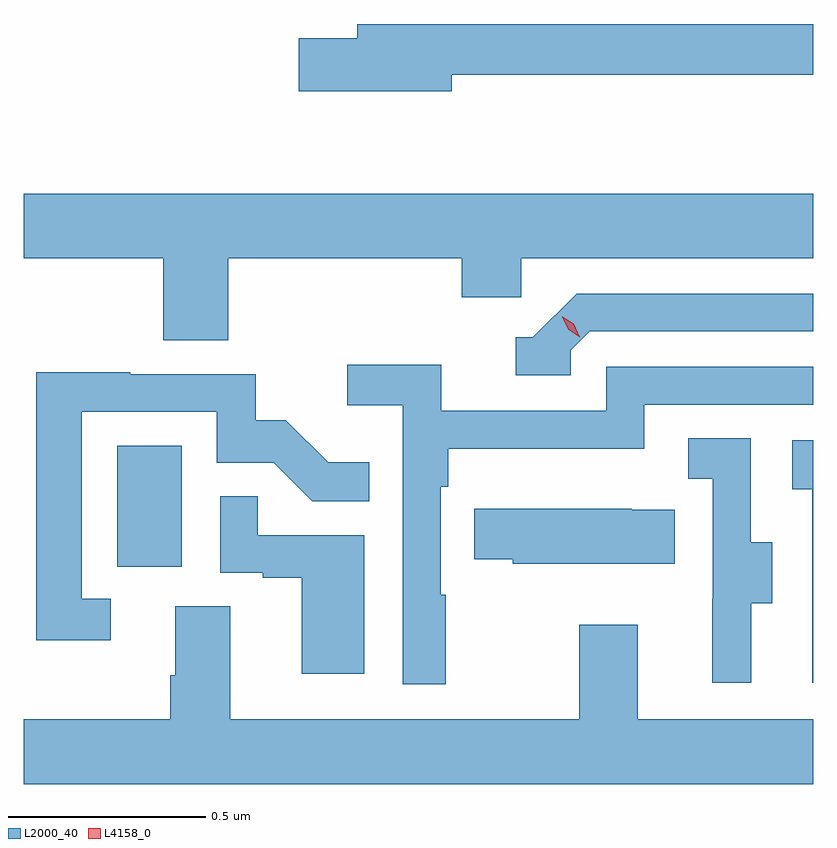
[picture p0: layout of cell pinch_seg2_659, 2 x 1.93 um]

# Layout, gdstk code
import gdstk
lib = gdstk.Library(unit=1e-6, precision=1e-09)
def R(c, l, rs):  # rectangles x0, y0, x1, y1
    for r in rs: c.add(gdstk.rectangle(r[:2], r[2:], *l))
def P(c, l, *ps):  # polygons
    for p in ps: c.add(gdstk.Polygon(p, *l))
L2000_40 = (2000, 40)
L4158_0 = (4158, 0)

pinch_seg2_659 = lib.new_cell('pinch_seg2_659')
R(pinch_seg2_659, L2000_40, [(1079.294,601.566,1079.458,601.873)])
P(pinch_seg2_659, L2000_40, [(1080.142,602.814),(1081.058,602.814),(1081.058,602.942),(1079.903,602.942),(1079.903,602.906),(1079.754,602.906),(1079.754,602.771),(1080.142,602.771)],
  [(1079.576,602.348),(1080.167,602.348),(1080.167,602.25),(1080.318,602.25),(1080.318,602.348),(1081.058,602.348),(1081.058,602.512),(1079.058,602.512),(1079.058,602.348),(1079.411,602.348),(1079.411,602.14),(1079.576,602.14)],
  [(1080.444,602.115),(1080.492,602.163),(1081.058,602.163),(1081.058,602.259),(1080.459,602.259),(1080.348,602.148),(1080.305,602.148),(1080.305,602.052),(1080.444,602.052)],
  [(1080.127,601.496),(1080.114,601.496),(1080.114,601.769),(1080.134,601.769),(1080.134,601.865),(1080.63,601.865),(1080.63,601.977),(1081.058,601.977),(1081.058,602.073),(1080.534,602.073),(1080.534,601.962),(1080.116,601.962),(1080.116,602.078),(1079.877,602.078),(1079.877,601.976),(1080.018,601.976),(1080.018,601.269),(1080.127,601.269)],
  [(1079.278,601.485),(1079.205,601.485),(1079.205,601.959),(1079.547,601.959),(1079.547,601.83),(1079.691,601.83),(1079.789,601.732),(1079.933,601.732),(1079.933,601.831),(1079.829,601.831),(1079.722,601.938),(1079.646,601.938),(1079.646,602.055),(1079.327,602.055),(1079.327,602.06),(1079.089,602.06),(1079.089,601.38),(1079.278,601.38)],
  [(1080.901,601.474),(1080.955,601.474),(1080.955,601.629),(1080.9,601.629),(1080.9,601.892),(1080.741,601.892),(1080.741,601.789),(1080.804,601.789),(1080.804,601.485),(1080.803,601.485),(1080.803,601.272),(1080.901,601.272)],
  [(1081.058,601.887),(1081.005,601.887),(1081.005,601.763),(1081.056,601.763),(1081.056,601.272),(1081.058,601.272)],
  [(1079.92,601.647),(1079.651,601.647),(1079.651,601.745),(1079.556,601.745),(1079.556,601.551),(1079.663,601.551),(1079.663,601.539),(1079.762,601.539),(1079.762,601.296),(1079.92,601.296)],
  [(1080.707,601.711),(1080.599,601.711),(1080.599,601.714),(1080.199,601.714),(1080.199,601.585),(1080.297,601.585),(1080.297,601.574),(1080.707,601.574)],
  [(1081.058,601.18),(1080.613,601.18),(1080.613,601.42),(1080.466,601.42),(1080.466,601.18),(1079.581,601.18),(1079.581,601.466),(1079.441,601.466),(1079.441,601.292),(1079.429,601.292),(1079.429,601.18),(1079.058,601.18),(1079.058,601.016),(1081.058,601.016)])
P(pinch_seg2_659, L4158_0, [(1080.467,602.148),(1080.437,602.168),(1080.421,602.201),(1080.421,602.202),(1080.421,602.202),(1080.452,602.182),(1080.467,602.148),(1080.467,602.148)])

lib.write_gds('pinch_seg2_659.gds')
